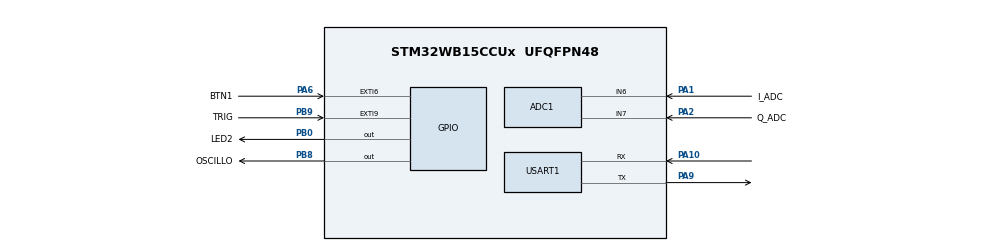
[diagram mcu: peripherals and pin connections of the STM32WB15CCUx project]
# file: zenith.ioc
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ADC1.Channel-0\#ChannelRegularConversion=ADC_CHANNEL_6
ADC1.Channel-1\#ChannelRegularConversion=ADC_CHANNEL_7
ADC1.ClockPrescaler=ADC_CLOCK_SYNC_PCLK_DIV2
ADC1.ContinuousConvMode=DISABLE
ADC1.DMAContinuousRequests=DISABLE
ADC1.EOCSelection=ADC_EOC_SEQ_CONV
ADC1.ExternalTrigConv=ADC_EXTERNALTRIG_T2_TRGO
ADC1.NbrOfConversion=2
ADC1.NbrOfConversionFlag=1
ADC1.Overrun=ADC_OVR_DATA_OVERWRITTEN
ADC1.Rank-0\#ChannelRegularConversion=1
ADC1.Rank-1\#ChannelRegularConversion=2
ADC1.SamplingTime-0\#ChannelRegularConversion=ADC_SAMPLINGTIME_COMMON_1
ADC1.SamplingTime-1\#ChannelRegularConversion=ADC_SAMPLINGTIME_COMMON_1
ADC1.SamplingTimeCommon1=ADC_SAMPLETIME_7CYCLES_5
ADC1.SamplingTimeCommon2=ADC_SAMPLETIME_7CYCLES_5
ADC1.SelectedChannel=ADC_CHANNEL_6|ADC_CHANNEL_7
ADC1.master=1
Dma.ADC1.0.Direction=DMA_PERIPH_TO_MEMORY
Dma.ADC1.0.EventEnable=DISABLE
Dma.ADC1.0.Instance=DMA1_Channel1
Dma.ADC1.0.MemDataAlignment=DMA_MDATAALIGN_HALFWORD
Dma.ADC1.0.MemInc=DMA_MINC_ENABLE
Dma.ADC1.0.Mode=DMA_NORMAL
Dma.ADC1.0.PeriphDataAlignment=DMA_PDATAALIGN_HALFWORD
Dma.ADC1.0.PeriphInc=DMA_PINC_DISABLE
Dma.ADC1.0.Polarity=HAL_DMAMUX_REQ_GEN_RISING
Dma.ADC1.0.Priority=DMA_PRIORITY_VERY_HIGH
Dma.ADC1.0.RequestNumber=1
Dma.ADC1.0.SignalID=NONE
Dma.ADC1.0.SyncEnable=DISABLE
Dma.ADC1.0.SyncPolarity=HAL_DMAMUX_SYNC_NO_EVENT
Dma.ADC1.0.SyncRequestNumber=1
Dma.ADC1.0.SyncSignalID=NONE
Dma.MEMTOMEM.1.Direction=DMA_MEMORY_TO_MEMORY
Dma.MEMTOMEM.1.EventEnable=DISABLE
Dma.MEMTOMEM.1.Instance=DMA1_Channel2
Dma.MEMTOMEM.1.MemDataAlignment=DMA_MDATAALIGN_BYTE
Dma.MEMTOMEM.1.MemInc=DMA_MINC_ENABLE
Dma.MEMTOMEM.1.Mode=DMA_NORMAL
Dma.MEMTOMEM.1.PeriphDataAlignment=DMA_PDATAALIGN_BYTE
Dma.MEMTOMEM.1.PeriphInc=DMA_PINC_ENABLE
Dma.MEMTOMEM.1.Polarity=HAL_DMAMUX_REQ_GEN_RISING
Dma.MEMTOMEM.1.Priority=DMA_PRIORITY_HIGH
Dma.MEMTOMEM.1.RequestNumber=1
Dma.MEMTOMEM.1.SignalID=NONE
Dma.MEMTOMEM.1.SyncEnable=DISABLE
Dma.MEMTOMEM.1.SyncPolarity=HAL_DMAMUX_SYNC_NO_EVENT
Dma.MEMTOMEM.1.SyncRequestNumber=1
Dma.MEMTOMEM.1.SyncSignalID=NONE
Dma.Request0=ADC1
Dma.Request1=MEMTOMEM
Mcu.Family=STM32WB
Mcu.Name=STM32WB15CCUx
Mcu.Package=UFQFPN48
NVIC.ADC1_IRQn=true\:0\:0\:false\:false\:true\:true\:true\:true
NVIC.DMA1_Channel1_IRQn=true\:0\:0\:false\:false\:true\:false\:true\:true
NVIC.DMA1_Channel2_IRQn=true\:0\:0\:false\:false\:true\:true\:true\:true
NVIC.EXTI9_5_IRQn=true\:0\:0\:false\:false\:true\:true\:true\:true
NVIC.HSEM_IRQn=true\:0\:0\:false\:false\:true\:false\:true\:true
NVIC.IPCC_C1_RX_IRQn=true\:0\:0\:false\:false\:true\:true\:true\:true
NVIC.IPCC_C1_TX_IRQn=true\:0\:0\:false\:false\:true\:true\:true\:true
NVIC.PriorityGroup=NVIC_PRIORITYGROUP_4
NVIC.RTC_WKUP_IRQn=true\:0\:0\:false\:false\:true\:true\:true\:true
NVIC.TIM2_IRQn=true\:0\:0\:false\:false\:true\:true\:true\:true
OSC_IN.Mode=HSE-External-Oscillator
OSC_IN.Signal=RCC_OSC_IN
OSC_OUT.Mode=HSE-External-Oscillator
OSC_OUT.Signal=RCC_OSC_OUT
PA1.GPIO_Label=I_ADC
PA1.Signal=ADCx_IN6
PA10.Mode=Asynchronous
PA10.Signal=USART1_RX
PA2.GPIO_Label=Q_ADC
PA2.Signal=ADCx_IN7
PA6.GPIO_Label=BTN1
PA6.GPIO_PuPd=GPIO_PULLUP
PA6.Signal=GPXTI6
PA9.Mode=Asynchronous
PA9.Signal=USART1_TX
PB0.GPIO_Label=LED2
PB0.Signal=GPIO_Output
PB8.GPIO_FM8=SYSCFG_FASTMODEPLUS_PB8
PB8.GPIO_Label=OSCILLO
PB8.GPIO_ModeDefaultOutputPP=GPIO_MODE_OUTPUT_PP
PB8.GPIO_PuPd=GPIO_NOPULL
PB8.GPIO_Speed=GPIO_SPEED_FREQ_VERY_HIGH
PB8.Signal=GPIO_Output
PB9.GPIO_Label=TRIG
PB9.Signal=GPXTI9
PC14-OSC32_IN.Mode=LSE-External-Oscillator
PC14-OSC32_IN.Signal=RCC_OSC32_IN
PC15-OSC32_OUT.Mode=LSE-External-Oscillator
PC15-OSC32_OUT.Signal=RCC_OSC32_OUT
ProjectManager.HeapSize=0x200
ProjectManager.StackSize=0x400
ProjectManager.TargetToolchain=STM32CubeIDE
RCC.AHB2CLKDivider=RCC_SYSCLK_DIV2
RCC.AHBFreq_Value=64000000
RCC.APB1Freq_Value=64000000
RCC.APB1TimFreq_Value=64000000
RCC.APB2Freq_Value=64000000
RCC.APB2TimFreq_Value=64000000
RCC.APB3Freq_Value=16000000
RCC.CortexFreq_Value=64000000
RCC.HCLKFreq_Value=64000000
RCC.HSE_VALUE=32000000
RCC.HSI_VALUE=16000000
RCC.PLLN=32
RCC.RTCClockSelection=RCC_RTCCLKSOURCE_LSE
RCC.SYSCLKFreq_VALUE=64000000
RCC.SYSCLKSource=RCC_SYSCLKSOURCE_PLLCLK
RCC.VCOOutputFreq_Value=128000000
RF1.Mode=RF1_Activate
RF1.Signal=RF_RF1
SH.ADCx_IN6.0=ADC1_IN6,IN6-Single-Ended
SH.ADCx_IN7.0=ADC1_IN7,IN7-Single-Ended
STM32_WPAN.AD_TYPE_COMPLETE_LOCAL_NAME=SiRadarBLE
STM32_WPAN.AD_TYPE_COMPLETE_LOCAL_NAME_LENGTH=11
STM32_WPAN.AD_TYPE_MANUFACTURER_SPECIFIC_DATA_COMPANY_IDENTIFIER=09,00
STM32_WPAN.AD_TYPE_SHORTENED_LOCAL_NAME=SiRad
STM32_WPAN.AD_TYPE_SHORTENED_LOCAL_NAME_LENGTH=6
STM32_WPAN.AD_TYPE_SLAVE_CONN_INTERVAL_MAX=6
STM32_WPAN.AD_TYPE_SLAVE_CONN_INTERVAL_MAX_HEXA=0x0007
STM32_WPAN.AD_TYPE_SLAVE_CONN_INTERVAL_MIN=6
STM32_WPAN.AD_TYPE_SLAVE_CONN_INTERVAL_MIN_HEXA=0x0007
STM32_WPAN.AD_TYPE_SLAVE_CONN_INTERVAL_MIN_MAX=1
STM32_WPAN.BLE_ADDR_TYPE=PUBLIC_ADDR
STM32_WPAN.BLE_DBG_APP_EN=1
STM32_WPAN.CFG_ADV_BD_ADDRESS=0x0
STM32_WPAN.CFG_BLE_HSE_STARTUP_TIME=0x148
STM32_WPAN.CFG_BLE_MAX_ATT_MTU=300
STM32_WPAN.CFG_BLE_NUM_GATT_ATTRIBUTES=23
STM32_WPAN.CFG_BLE_NUM_GATT_SERVICES=8
STM32_WPAN.CFG_BLE_NUM_LINK=2
STM32_WPAN.CFG_BLE_OPTIONS_DEVICE_NAME=SHCI_C2_BLE_INIT_OPTIONS_DEVICE_NAME_RO
STM32_WPAN.CFG_BONDING_MODE=0
STM32_WPAN.CFG_DEBUG_APP_TRACE=1
STM32_WPAN.CFG_DEBUG_BLE_TRACE=1
STM32_WPAN.CFG_DEBUG_TRACE_LIGHT=1
STM32_WPAN.CFG_DEBUG_TRACE_UART=hw_uart1
STM32_WPAN.CFG_FAST_CONN_ADV_INTERVAL_MAX=400
STM32_WPAN.CFG_FAST_CONN_ADV_INTERVAL_MAX_HEXA=0x0280
STM32_WPAN.CFG_GAP_DEVICE_NAME=SiliconRemote
STM32_WPAN.CFG_GAP_DEVICE_NAME_LENGTH=13
STM32_WPAN.CFG_HW_TS_USE_PRIMASK_AS_CRITICAL_SECTION=1
STM32_WPAN.CFG_HW_USART1_ENABLED=1
STM32_WPAN.CFG_MITM_PROTECTION=CFG_MITM_PROTECTION_REQUIRED
STM32_WPAN.CFG_SC_SUPPORT=CFG_SECURE_OPTIONAL
STM32_WPAN.CFG_TX_POWER=(0x19) /* 0dBm */
STM32_WPAN.CFG_USED_FIXED_PIN=1
STM32_WPAN.CFG_USE_SMPS=1
STM32_WPAN.CUSTOM_P2P_SERVER=Disabled
STM32_WPAN.CUSTOM_TEMPLATE=Enabled
STM32_WPAN.INCLUDE_AD_TYPE_COMPLETE_LOCAL_NAME=1
STM32_WPAN.INCLUDE_AD_TYPE_LE_ROLE=0
STM32_WPAN.INCLUDE_AD_TYPE_MANUFACTURER_SPECIFIC_DATA=0
STM32_WPAN.INCLUDE_AD_TYPE_SHORTENED_LOCAL_NAME=0
STM32_WPAN.INCLUDE_AD_TYPE_SLAVE_CONN_INTERVAL=1
STM32_WPAN.NUMBER_OF_SERVICES=1
STM32_WPAN.PAIRING_PARAMETERS=OFF
STM32_WPAN.SERVICE1_CHAR1_ENC_KEY_SIZE=0x7
STM32_WPAN.SERVICE1_CHAR1_GATT_NOTIFY_ATTRIBUTE_WRITE=\ 
STM32_WPAN.SERVICE1_CHAR1_GATT_NOTIFY_READ_REQ_AND_WAIT_FOR_APPL_RESP=\ 
STM32_WPAN.SERVICE1_CHAR1_GATT_NOTIFY_WRITE_REQ_AND_WAIT_FOR_APPL_RESP=\ 
STM32_WPAN.SERVICE1_CHAR1_LONG_NAME=SiliconRemoteRamp0
STM32_WPAN.SERVICE1_CHAR1_PROP_NOTIFY=CHAR_PROP_NOTIFY
STM32_WPAN.SERVICE1_CHAR1_SHORT_NAME=SiliconRemoteRamp0
STM32_WPAN.SERVICE1_CHAR1_UUID=00 F0
STM32_WPAN.SERVICE1_CHAR1_VALUE_LENGTH=247
STM32_WPAN.SERVICE1_CHAR2_ENC_KEY_SIZE=0x7
STM32_WPAN.SERVICE1_CHAR2_GATT_NOTIFY_ATTRIBUTE_WRITE=\ 
STM32_WPAN.SERVICE1_CHAR2_GATT_NOTIFY_READ_REQ_AND_WAIT_FOR_APPL_RESP=\ 
STM32_WPAN.SERVICE1_CHAR2_GATT_NOTIFY_WRITE_REQ_AND_WAIT_FOR_APPL_RESP=\ 
STM32_WPAN.SERVICE1_CHAR2_LONG_NAME=SiliconRemoteRamp1
STM32_WPAN.SERVICE1_CHAR2_PROP_NOTIFY=CHAR_PROP_NOTIFY
STM32_WPAN.SERVICE1_CHAR2_SHORT_NAME=SiliconRemoteRamp1
STM32_WPAN.SERVICE1_CHAR2_UUID=00 F1
STM32_WPAN.SERVICE1_CHAR2_VALUE_LENGTH=247
STM32_WPAN.SERVICE1_CHAR3_ENC_KEY_SIZE=0x7
STM32_WPAN.SERVICE1_CHAR3_GATT_NOTIFY_ATTRIBUTE_WRITE=\ 
STM32_WPAN.SERVICE1_CHAR3_GATT_NOTIFY_READ_REQ_AND_WAIT_FOR_APPL_RESP=\ 
STM32_WPAN.SERVICE1_CHAR3_GATT_NOTIFY_WRITE_REQ_AND_WAIT_FOR_APPL_RESP=\ 
STM32_WPAN.SERVICE1_CHAR3_LONG_NAME=SiliconRemoteRamp2
STM32_WPAN.SERVICE1_CHAR3_PROP_NOTIFY=CHAR_PROP_NOTIFY
STM32_WPAN.SERVICE1_CHAR3_SHORT_NAME=SiliconRemoteRamp2
STM32_WPAN.SERVICE1_CHAR3_UUID=00 F2
STM32_WPAN.SERVICE1_CHAR3_VALUE_LENGTH=247
STM32_WPAN.SERVICE1_CHAR4_ENC_KEY_SIZE=0x7
STM32_WPAN.SERVICE1_CHAR4_GATT_NOTIFY_ATTRIBUTE_WRITE=\ 
STM32_WPAN.SERVICE1_CHAR4_GATT_NOTIFY_READ_REQ_AND_WAIT_FOR_APPL_RESP=\ 
STM32_WPAN.SERVICE1_CHAR4_GATT_NOTIFY_WRITE_REQ_AND_WAIT_FOR_APPL_RESP=\ 
STM32_WPAN.SERVICE1_CHAR4_LONG_NAME=SiliconRemoteRamp3
STM32_WPAN.SERVICE1_CHAR4_PROP_NOTIFY=CHAR_PROP_NOTIFY
STM32_WPAN.SERVICE1_CHAR4_SHORT_NAME=SiliconRemoteRamp3
STM32_WPAN.SERVICE1_CHAR4_UUID=00 F3
STM32_WPAN.SERVICE1_CHAR4_VALUE_LENGTH=247
STM32_WPAN.SERVICE1_LONG_NAME=SiliconRemoteSvc
STM32_WPAN.SERVICE1_NUMBER_OF_CHARACTERISTICS=1
STM32_WPAN.SERVICE1_SHORT_NAME=SiliconRemoteSvc
STM32_WPAN.SERVICE1_UUID=00 00
STM32_WPAN.SERVICE1_UUID_128_INPUT_TYPE=0
TIM2.CounterMode=TIM_COUNTERMODE_UP
TIM2.Period=tim2_period
TIM2.Prescaler=tim2_prescaler
TIM2.TIM_MasterOutputTrigger=TIM_TRGO_UPDATE
USART1.VirtualMode-Asynchronous=VM_ASYNC
VP_HSEM_VS_HSEM.Mode=HSEM_Activate
VP_IPCC_VS_IPCC.Mode=IPCC_Activate
VP_RNG_VS_RNG.Mode=RNG_Activate
VP_RTC_VS_RTC_Activate.Mode=RTC_Enabled
VP_RTC_VS_RTC_WakeUp_intern.Mode=WakeUp
VP_SEQUENCER_VS_SEQUENCER.Mode=SEQUENCER_Enabled
VP_STM32_WPAN_VS_BLE_HOST.Mode=STM32_WPAN_Enabled
VP_TIM2_VS_ClockSourceINT.Mode=Internal
VP_TINY_LPM_VS_TINY_LPM.Mode=TINY_LPM_Enabled
board=NUCLEO-WB15CC

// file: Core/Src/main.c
/* USER CODE BEGIN Header */
/**
 ******************************************************************************
 * @file           : main.c
 * @brief          : Main program body
 ******************************************************************************
 * @attention
 *
 * Copyright (c) 2022 STMicroelectronics.
 * All rights reserved.
 *
 * This software is licensed under terms that can be found in the LICENSE file
 * in the root directory of this software component.
 * If no LICENSE file comes with this software, it is provided AS-IS.
 *
 ******************************************************************************
 */
/* USER CODE END Header */
#include "main.h"
#include "adc.h"
#include "dma.h"
#include "ipcc.h"
#include "rf.h"
#include "rng.h"
#include "rtc.h"
#include "tim.h"
#include "usart.h"
#include "gpio.h"

/* USER CODE BEGIN Includes */
#include "arm_math.h"
#include "arm_const_structs.h"
#include <stdio.h>
#include <string.h>
#include <limits.h>
#include "fifo_queue.h"
/* USER CODE END Includes */

/* USER CODE BEGIN PV */
/* Variables for ADC conversion data */
__IO uint16_t uhADCxConvertedData[ADC_CONVERTED_DATA_BUFFER_SIZE] = { 0 }; /* ADC group regular conversion data (array of data) */

/* Variables for ADC conversion data computation to physical values */
__IO int16_t uhADCxConvertedData_q15[512] = { 0 }; /* Value of converted data in mV */

/* Variable to report status of DMA transfer of ADC group regular conversions */
/*  0: DMA transfer is not completed                                          */
/*  1: DMA transfer is completed                                              */
/*  2: DMA transfer has not yet been started yet (initial state)              */
__IO uint8_t ignoreTrig = 0x0;
#ifdef MICRODOPPLER_MODE
__IO uint16_t sumNo = 0x0;
#else
__IO uint16_t rampNo = 0x0;
#endif
__IO uint8_t packetStorageArray[QUEUE_BLE_PACKETS_NO * 247] = { 0 }; // this holds 16 ble packets of 247 bytes == 16 ramps, change this below
__IO struct Queue bleQueue;
__IO uint8_t *packetArr[QUEUE_BLE_PACKETS_NO];

/* USER CODE END PV */

void SystemClock_Config(void);
void PeriphCommonClock_Config(void);
/* USER CODE BEGIN PFP */
void DMA_Callback(DMA_HandleTypeDef *hdma);
/* USER CODE END PFP */

int main(void)
{
  /* USER CODE BEGIN 1 */
	initAllocatedQueueWithArrayCapacity(&bleQueue, (uint8_t**) &packetArr,
			QUEUE_BLE_PACKETS_NO);
  /* USER CODE END 1 */

  /* MCU Configuration--------------------------------------------------------*/

  /* Reset of all peripherals, Initializes the Flash interface and the Systick. */
  HAL_Init();
  /* Config code for STM32_WPAN (HSE Tuning must be done before system clock configuration) */
  MX_APPE_Config();

  /* Configure the system clock */
  SystemClock_Config();

/* Configure the peripherals common clocks */
  PeriphCommonClock_Config();

  /* IPCC initialisation */
   MX_IPCC_Init();

  /* Initialize all configured peripherals */
  MX_GPIO_Init();
  MX_DMA_Init();
  MX_ADC1_Init();
  MX_TIM2_Init();
  MX_RF_Init();
  MX_RNG_Init();
  MX_RTC_Init();
  MX_USART1_UART_Init();
  /* USER CODE BEGIN 2 */

	// FOR DEBUG
	//DWT->CTRL = DWT_CTRL_CYCEVTENA_Msk | DWT_CTRL_CYCCNTENA_Msk;
	//DWT->CYCCNT = 0;

	/* Perform ADC calibration */
	if (HAL_ADCEx_Calibration_Start(&hadc1, ADC_SINGLE_ENDED) != HAL_OK) {
		/* Calibration Error */
		Error_Handler();
	}

	/* Start time base */
	if (HAL_TIM_Base_Start(&htim2) != HAL_OK) {
		/* Starting Error */
		Error_Handler();
	}

	HAL_DMA_RegisterCallback(&hdma_memtomem_dma1_channel2,HAL_DMA_XFER_CPLT_CB_ID, DMA_Callback);

  /* USER CODE END 2 */

  /* Init code for STM32_WPAN */
  MX_APPE_Init();

  /* Infinite loop */
	while (1) {
    MX_APPE_Process();

	}
}

void SystemClock_Config(void)
{
  RCC_OscInitTypeDef RCC_OscInitStruct = {0};
  RCC_ClkInitTypeDef RCC_ClkInitStruct = {0};

  /** Configure LSE Drive Capability
  */
  HAL_PWR_EnableBkUpAccess();
  __HAL_RCC_LSEDRIVE_CONFIG(RCC_LSEDRIVE_LOW);

  /** Initializes the RCC Oscillators according to the specified parameters
  * in the RCC_OscInitTypeDef structure.
  */
  RCC_OscInitStruct.OscillatorType = RCC_OSCILLATORTYPE_HSI|RCC_OSCILLATORTYPE_LSI1
                              |RCC_OSCILLATORTYPE_HSE|RCC_OSCILLATORTYPE_LSE
                              |RCC_OSCILLATORTYPE_MSI;
  RCC_OscInitStruct.HSEState = RCC_HSE_ON;
  RCC_OscInitStruct.LSEState = RCC_LSE_ON;
  RCC_OscInitStruct.HSIState = RCC_HSI_ON;
  RCC_OscInitStruct.MSIState = RCC_MSI_ON;
  RCC_OscInitStruct.HSICalibrationValue = RCC_HSICALIBRATION_DEFAULT;
  RCC_OscInitStruct.MSICalibrationValue = RCC_MSICALIBRATION_DEFAULT;
  RCC_OscInitStruct.MSIClockRange = RCC_MSIRANGE_6;
  RCC_OscInitStruct.LSIState = RCC_LSI_ON;
  RCC_OscInitStruct.PLL.PLLState = RCC_PLL_ON;
  RCC_OscInitStruct.PLL.PLLSource = RCC_PLLSOURCE_MSI;
  RCC_OscInitStruct.PLL.PLLM = RCC_PLLM_DIV1;
  RCC_OscInitStruct.PLL.PLLN = 32;
  RCC_OscInitStruct.PLL.PLLP = RCC_PLLP_DIV2;
  RCC_OscInitStruct.PLL.PLLR = RCC_PLLR_DIV2;
  RCC_OscInitStruct.PLL.PLLQ = RCC_PLLQ_DIV2;
  if (HAL_RCC_OscConfig(&RCC_OscInitStruct) != HAL_OK)
  {
    Error_Handler();
  }

  /** Configure the SYSCLKSource, HCLK, PCLK1 and PCLK2 clocks dividers
  */
  RCC_ClkInitStruct.ClockType = RCC_CLOCKTYPE_HCLK4|RCC_CLOCKTYPE_HCLK2
                              |RCC_CLOCKTYPE_HCLK|RCC_CLOCKTYPE_SYSCLK
                              |RCC_CLOCKTYPE_PCLK1|RCC_CLOCKTYPE_PCLK2;
  RCC_ClkInitStruct.SYSCLKSource = RCC_SYSCLKSOURCE_PLLCLK;
  RCC_ClkInitStruct.AHBCLKDivider = RCC_SYSCLK_DIV1;
  RCC_ClkInitStruct.APB1CLKDivider = RCC_HCLK_DIV1;
  RCC_ClkInitStruct.APB2CLKDivider = RCC_HCLK_DIV1;
  RCC_ClkInitStruct.AHBCLK2Divider = RCC_SYSCLK_DIV2;
  RCC_ClkInitStruct.AHBCLK4Divider = RCC_SYSCLK_DIV1;

  if (HAL_RCC_ClockConfig(&RCC_ClkInitStruct, FLASH_LATENCY_3) != HAL_OK)
  {
    Error_Handler();
  }

  /** Enable MSI Auto calibration
  */
  HAL_RCCEx_EnableMSIPLLMode();
}

void PeriphCommonClock_Config(void)
{
  RCC_PeriphCLKInitTypeDef PeriphClkInitStruct = {0};

  /** Initializes the peripherals clock
  */
  PeriphClkInitStruct.PeriphClockSelection = RCC_PERIPHCLK_SMPS|RCC_PERIPHCLK_RFWAKEUP;
  PeriphClkInitStruct.RFWakeUpClockSelection = RCC_RFWKPCLKSOURCE_LSE;
  PeriphClkInitStruct.SmpsClockSelection = RCC_SMPSCLKSOURCE_HSI;
  PeriphClkInitStruct.SmpsDivSelection = RCC_SMPSCLKDIV_RANGE1;

  if (HAL_RCCEx_PeriphCLKConfig(&PeriphClkInitStruct) != HAL_OK)
  {
    Error_Handler();
  }
}

/* USER CODE BEGIN 4 */

/**
 * @brief  DMA transfer complete callback
 * @note   This function is executed when the transfer complete interrupt
 *         is generated
 * @retval None
 */
void HAL_ADC_ConvCpltCallback(ADC_HandleTypeDef *hadc) {
	// Stop ADC and DMA
	LL_ADC_Disable(ADC1);
	LL_DMA_DisableChannel(DMA1, LL_DMA_CHANNEL_1);
	// Convert DMA buffer to mV buffer
	//uint32_t c1 = DWT->CYCCNT;
	for (uint16_t i = 0;
			i < ADC_CONVERTED_DATA_BUFFER_SIZE - TOTAL_SAMPLES_DISCARD_NO;
			i++) {
		//uhADCxConvertedData_mV[conv_idx] = __LL_ADC_CALC_DATA_TO_VOLTAGE(VDDA_APPLI, uhADCxConvertedData[conv_idx], LL_ADC_RESOLUTION_12B);
		uhADCxConvertedData_q15[i] = ((int32_t) (uhADCxConvertedData[i
				+ EXTREMA_SAMPLES_DISCARD_NO]) * 65535U + 2047U) / 4095U
				- 32768U;
	}

	/// OLD ALGO
//	arm_offset_f32(uhADCxConvertedData_mV + EXTREMA_CUT, -(4096>>1),
//			uhADCxConvertedData_mV, ADC_CONVERTED_DATA_BUFFER_SIZE - TOTAL_CUT);
//	arm_scale_f32(uhADCxConvertedData_mV, 0.00048828125,
//			uhADCxConvertedData_mV, ADC_CONVERTED_DATA_BUFFER_SIZE - TOTAL_CUT);
//	arm_float_to_q15(uhADCxConvertedData_mV, qADC1Data,
//			ADC_CONVERTED_DATA_BUFFER_SIZE - TOTAL_CUT);

	arm_cfft_q15(&arm_cfft_sR_q15_len256, (q15_t*) uhADCxConvertedData_q15, 0,
			1); // bit reversal is needed

#ifdef MICRODOPPLER_MODE
	uint16_t samp_cnt;

	int32_t cmplx_result[2];

	// loop unrolling: MD_BIN_SUM_NUMBER must be divisible by 4
	samp_cnt = MD_BIN_SUM_NUMBER >> 2u;

	q15_t * sample_ptr = uhADCxConvertedData_q15 + (MD_BIN_SUM_START << 1u);

	while (samp_cnt > 0u) {
		cmplx_result[0] += *sample_ptr++;
		cmplx_result[1] -= *sample_ptr++;
		cmplx_result[0] += *sample_ptr++;
		cmplx_result[1] -= *sample_ptr++;
		cmplx_result[0] += *sample_ptr++;
		cmplx_result[1] -= *sample_ptr++;
		cmplx_result[0] += *sample_ptr++;
		cmplx_result[1] -= *sample_ptr++;
		samp_cnt--;
	}

	// sum results S.log2N.15 format
	HAL_DMA_Start_IT(&hdma_memtomem_dma1_channel2, (uint32_t) &cmplx_result, (uint32_t) &packetStorageArray + (sumNo << 3u) % 240 + (247 * (sumNo << 3u)/240) % QUEUE_BLE_PACKETS_NO, 8);
#else
	*(uhADCxConvertedData_q15 + ((SEND_BIN_INITIAL_IDX + SEND_BIN_NO) << 1)) =
			rampNo; // store ramp number

	//*(uhADCxConvertedData_q15 + 121) = 0xADDE;
	//*(uhADCxConvertedData_q15 + 122) = 0xEFBE;
	//uint32_t c2 = DWT->CYCCNT;
	HAL_DMA_Start_IT(&hdma_memtomem_dma1_channel2,
			(uint32_t) &uhADCxConvertedData_q15 + (SEND_BIN_INITIAL_IDX << 1),
			(uint32_t) &packetStorageArray + (((rampNo / BIN_SENT_OFFSET) % QUEUE_BLE_PACKETS_NO)*247) + (SEND_BIN_NO << 2) * (rampNo % BIN_SENT_OFFSET),
			(SEND_BIN_NO << 2) + 2);
//	char msg[20];
//	//HAL_UART_Transmit(&huart1, (uint8_t*) uhADCxConvertedData_mV + 20, 128*32/8, 5);
//	HAL_UART_Transmit(&huart1, (uint8_t*) msg, sprintf(msg, "%ld\n", c2-c1), 10);
#endif
}

/**
 * @brief ADC Error callback
 * @note This function is called when an error with the ADC sampling and/or conversion has occurred
 * @retval None
 */
void HAL_ADC_ErrorCallback(ADC_HandleTypeDef *hadc) {
	/* Note: Disable ADC interruption that caused this error before entering in
	 infinite loop below. */

	/* In case of error due to overrun: Disable ADC group regular overrun interruption */
	LL_ADC_DisableIT_OVR(ADC1);

	/* Error reporting */
	Error_Handler();
}

void HAL_GPIO_EXTI_Callback(uint16_t GPIO_Pin) {
	if ((GPIO_Pin == BTN1_Pin) || (GPIO_Pin == TRIG_Pin)) {
		if (!ignoreTrig) {
			LL_DMA_EnableChannel(DMA1, LL_DMA_CHANNEL_1);
			HAL_ADC_Start_DMA(&hadc1, (uint32_t*) uhADCxConvertedData,
			ADC_CONVERTED_DATA_BUFFER_SIZE - (TOTAL_SAMPLES_DISCARD_NO- EXTREMA_SAMPLES_DISCARD_NO));
		}
		//ignoreTrig ^= 1;
	}
}

void DMA_Callback(DMA_HandleTypeDef *hdma) {
#ifdef MICRODOPPLER_MODE
	if(sumNo % 240 == 0) {
		enq(&bleQueue, (uint8_t*) &packetStorageArray + (247 * (sumNo << 3u)/240) % QUEUE_BLE_PACKETS_NO);
	}
	sumNo++;
#else
	if ((rampNo+1) % BIN_SENT_OFFSET == 0) {
		enq(&bleQueue, (uint8_t*) &packetStorageArray + ((rampNo / BIN_SENT_OFFSET) % QUEUE_BLE_PACKETS_NO)*247);
	}
	rampNo++;
#endif
}

/* USER CODE END 4 */

void Error_Handler(void)
{
  /* USER CODE BEGIN Error_Handler_Debug */
	/* User can add his own implementation to report the HAL error return state */
	__disable_irq();
	while (1) {
		HAL_GPIO_WritePin(LED2_GPIO_Port, LED2_Pin, GPIO_PIN_SET);
	}
  /* USER CODE END Error_Handler_Debug */
}
